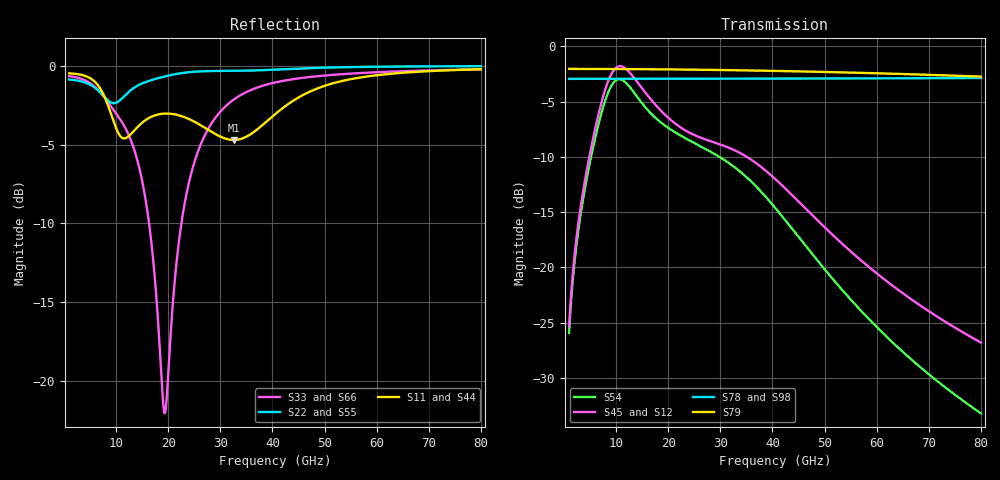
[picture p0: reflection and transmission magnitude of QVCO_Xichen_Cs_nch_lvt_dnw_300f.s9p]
! Touchstone Ver. 1.0
! Number of ports is 9
# Hz	S	RI	R	50.000000
! SCATTERING PARAMETERS  :
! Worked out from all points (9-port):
!   1001 points, 1 GHz to 80 GHz, reference 50 ohm
!   strongest paths, dB at 1 GHz, 20.75 GHz, 40.5 GHz, 60.25 GHz, 80 GHz:
!     S79: -2.0, -2.1, -2.2, -2.4, -2.7
!     S78: -2.9, -2.9, -2.9, -2.9, -2.9
!     S98: -2.9, -3.0, -3.0, -3.1, -3.2
!     S45: -25.3, -6.8, -12.0, -20.6, -26.8
!     S12: -25.3, -6.8, -12.0, -20.6, -26.8
!     S54: -25.9, -7.6, -14.6, -25.5, -33.2
!   lowest |S11| = -4.7 dB at 32.6 GHz (marker M1), VSWR 3.78, Z = 88 + j87 ohm
!   |S11| at or under -10 dB: nowhere
